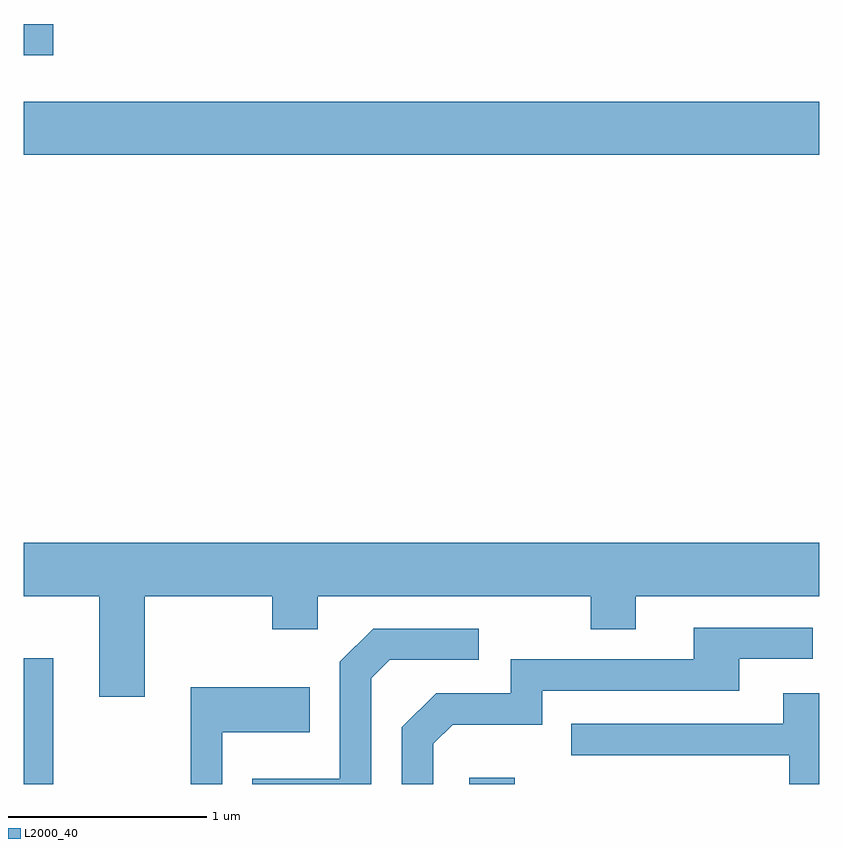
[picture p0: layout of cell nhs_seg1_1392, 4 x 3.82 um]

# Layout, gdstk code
import gdstk
lib = gdstk.Library(unit=1e-6, precision=1e-09)
def R(c, l, rs):  # rectangles x0, y0, x1, y1
    for r in rs: c.add(gdstk.rectangle(r[:2], r[2:], *l))
def P(c, l, *ps):  # polygons
    for p in ps: c.add(gdstk.Polygon(p, *l))
L2000_40 = (2000, 40)

nhs_seg1_1392 = lib.new_cell('nhs_seg1_1392')
R(nhs_seg1_1392, L2000_40, [(227.611,929.712,227.759,930.344), (229.851,929.712,230.079,929.744), (227.611,932.876,231.611,933.144), (227.611,933.376,227.758,933.534)])
P(nhs_seg1_1392, L2000_40, [(228.219,930.656),(228.861,930.656),(228.861,930.491),(229.089,930.491),(229.089,930.656),(230.461,930.656),(230.461,930.491),(230.689,930.491),(230.689,930.656),(231.611,930.656),(231.611,930.924),(227.611,930.924),(227.611,930.656),(227.991,930.656),(227.991,930.151),(228.219,930.151)],
  [(229.669,929.914),(229.767,930.011),(230.219,930.011),(230.219,930.181),(231.209,930.181),(231.209,930.341),(231.578,930.341),(231.578,930.499),(230.981,930.499),(230.981,930.339),(230.061,930.339),(230.061,930.169),(229.684,930.169),(229.511,929.997),(229.511,929.712),(229.669,929.712)],
  [(229.359,930.244),(229.452,930.336),(229.898,930.336),(229.898,930.494),(229.369,930.494),(229.201,930.327),(229.201,929.739),(228.761,929.739),(228.761,929.712),(229.359,929.712)],
  [(228.609,929.971),(229.049,929.971),(229.049,930.199),(228.451,930.199),(228.451,929.712),(228.609,929.712)],
  [(231.611,930.169),(231.431,930.169),(231.431,930.014),(230.363,930.014),(230.363,929.856),(231.461,929.856),(231.461,929.712),(231.611,929.712)])

lib.write_gds('nhs_seg1_1392.gds')
